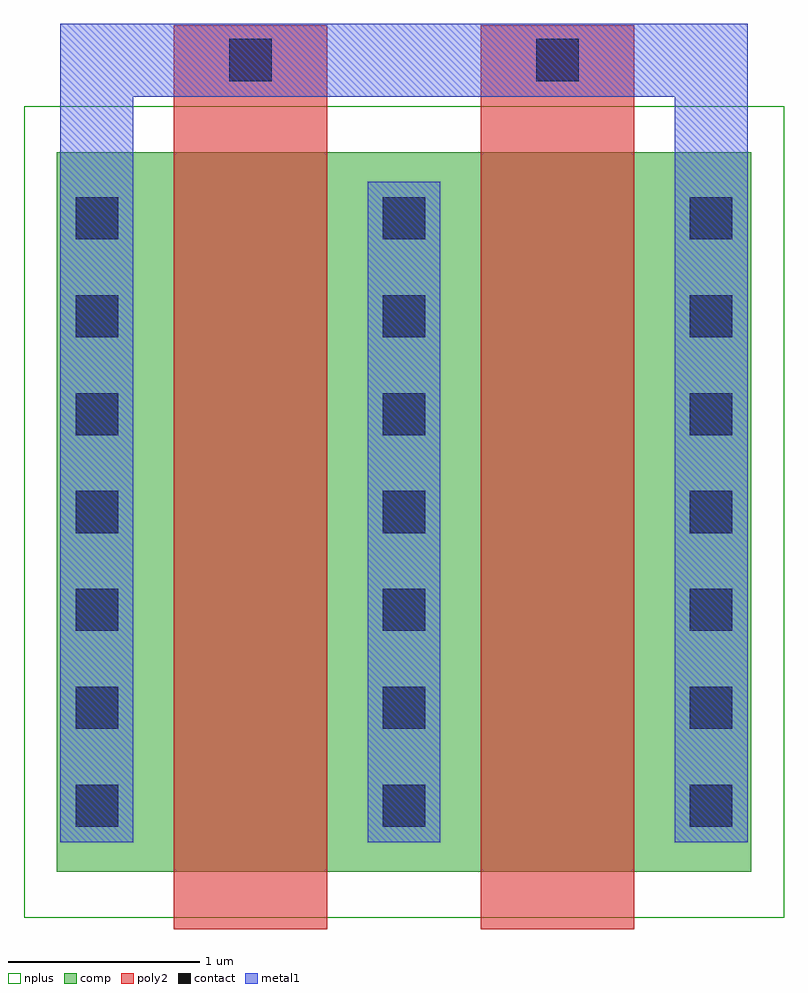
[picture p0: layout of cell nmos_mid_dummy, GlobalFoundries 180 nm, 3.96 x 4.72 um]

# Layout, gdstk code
import gdstk
lib = gdstk.Library(unit=1e-6, precision=5e-09)
def R(c, l, rs):  # rectangles x0, y0, x1, y1
    for r in rs: c.add(gdstk.rectangle(r[:2], r[2:], *l))
def A(c, l, x, y, w, h, nx, ny, dx, dy):  # array of equal rectangles
    R(c, l, [(x+i*dx, y+j*dy, x+i*dx+w, y+j*dy+h) for i in range(nx) for j in range(ny)])
comp = (22, 0)
poly2 = (30, 0)
nplus = (32, 0)
contact = (33, 0)
metal1 = (34, 0)

nfet = lib.new_cell('nfet')
R(nfet, comp, [(-0.42,0,0,3.75), (0,0,1.18,3.75), (1.18,0,1.6,3.75)])
R(nfet, poly2, [(0.19,-0.3,0.99,4.05), (0.19,4.05,0.99,4.41)])
R(nfet, nplus, [(-0.59,-0.24,1.77,3.99)])
A(nfet, contact, -0.32, 0.235, 0.22, 0.22, 1, 7, 0, 0.51)
A(nfet, contact, 1.28, 0.235, 0.22, 0.22, 1, 7, 0, 0.51)
R(nfet, contact, [(0.48,4.12,0.7,4.34)])
R(nfet, metal1, [(-0.4,0.155,-0.02,3.595), (1.2,0.155,1.58,3.595), (0.4,4.04,0.78,4.42)])

nmos_mid_dummy = lib.new_cell('nmos_mid_dummy')
nmos_mid_dummy.add(gdstk.FlexPath([(0.38,3.895),(0.38,4.53),(3.58,4.53),(3.58,3.895)], 0.38, ends="flush", simple_path=True, layer=34, datatype=0))  # metal1
nmos_mid_dummy.add(gdstk.Reference(nfet, (0.59,0.3)))
nmos_mid_dummy.add(gdstk.Reference(nfet, (2.19,0.3)))

lib.write_gds('nmos_mid_dummy.gds')
